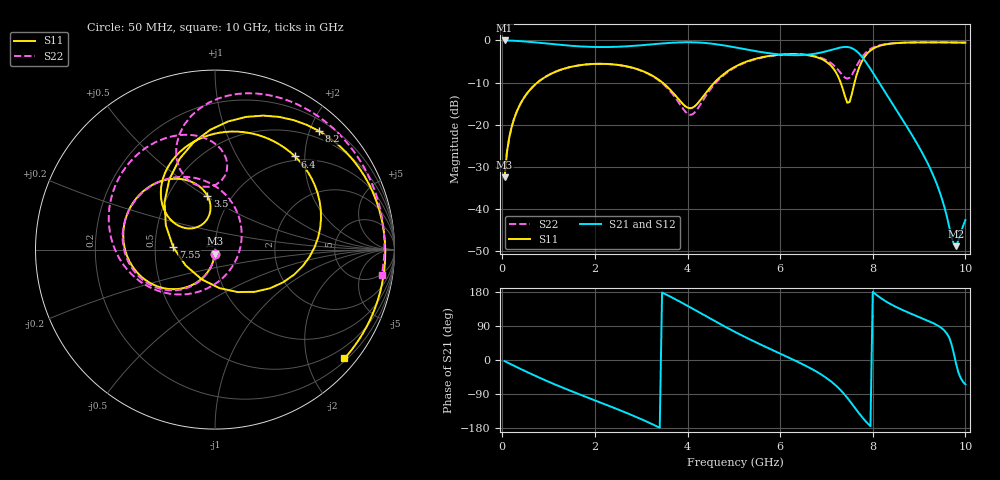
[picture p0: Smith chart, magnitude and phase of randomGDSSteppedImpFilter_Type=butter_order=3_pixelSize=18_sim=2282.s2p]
! freq	dB(S11)	phase(S11)	dB(S12)	phase(S12)
!  dB(S21)	phase(S21)	dB(S22)	phase(S22)
!S-par simulation data
#  GHz  S  DB  R 50
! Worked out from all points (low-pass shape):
!   200 points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, 50 MHz to 10 GHz, reference 50 ohm
!   highest |S21| = -0.01 dB at 50 MHz (marker M1); lowest = -48.9 dB at 9.8 GHz (marker M2)
!   |S21| within 3 dB of the highest: start of sweep to 5.739 GHz; 6.826 GHz to 7.694 GHz (868 MHz wide, 12 % of centre)
!   lowest |S11| = -32.5 dB at 50 MHz (marker M3), VSWR 1.05, Z = 49.8 - j2.35 ohm
!   |S11| at or under -10 dB: start of sweep to 760.3 MHz; 3.457 GHz to 4.583 GHz (1.127 GHz wide, 28 % of centre); 7.306 GHz to 7.607 GHz (301.3 MHz wide, 4.04 % of centre)
!   |S22| runs from -32.5 to -0.5 dB; largest |S21 - S12| = 0
!   S11 on the Smith chart (normalised r, x): 50 MHz: 1.00, -0.05; 3.5 GHz: 0.77, +0.51; 6.4 GHz: 0.92, +1.80; 7.55 GHz: 0.62, +0.02; 8.2 GHz: 0.37, +2.15; 10 GHz: 0.25, -2.72
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0.05  -32.54 -93.1  -0.01 -3.1  -0.01 -3.1  -32.54 -93.0
0.2  -20.65 -102.6  -0.06 -12.1  -0.06 -12.1  -20.66 -102.2
0.5  -13.11 -120.8  -0.26 -29.7  -0.26 -29.7  -13.11 -119.7
1.75  -5.78 173.5  -1.46 -94.7  -1.46 -94.7  -5.79 176.2
2.7  -6.19 129.7  -1.39 -140.5  -1.39 -140.5  -6.22 129.1
3.4  -9.52 100.7  -0.77 -178.8  -0.77 -178.8  -9.67 83.4
3.5  -10.40 98.0  -0.68 175.2  -0.68 175.2  -10.62 74.6
4.1  -16.02 126.4  -0.44 136.1  -0.44 136.1  -17.59 -36.0
5.05  -6.11 125.5  -1.70 72.5  -1.70 72.5  -6.27 -163.7
5.75  -3.71 87.5  -3.03 31.0  -3.03 31.0  -3.79 153.2
6.4  -3.29 49.4  -3.50 -6.1  -3.50 -6.1  -3.30 119.1
6.7  -3.71 28.6  -3.24 -24.9  -3.24 -24.9  -3.62 103.8
7.05  -5.52 -4.1  -2.42 -51.9  -2.42 -51.9  -5.03 86.6
7.3  -9.81 -46.7  -1.69 -78.8  -1.69 -78.8  -7.64 82.3
7.45  -14.82 -114.1  -1.56 -99.8  -1.56 -99.8  -9.09 95.8
7.55  -12.64 176.5  -1.85 -115.7  -1.85 -115.7  -8.15 108.9
7.85  -3.50 92.2  -5.12 -162.2  -5.12 -162.2  -2.90 103.9
8.2  -1.13 48.9  -11.13 161.1  -11.13 161.1  -1.02 78.4
8.35  -0.82 36.5  -13.75 149.9  -13.75 149.9  -0.77 69.0
9.25  -0.45 -11.9  -30.68 100.4  -30.68 100.4  -0.46 24.3
9.8  -0.49 -33.1  -48.88 -10.3  -48.88 -10.3  -0.50 0.3
10  -0.52 -40.0  -42.68 -64.3  -42.68 -64.3  -0.54 -8.5
